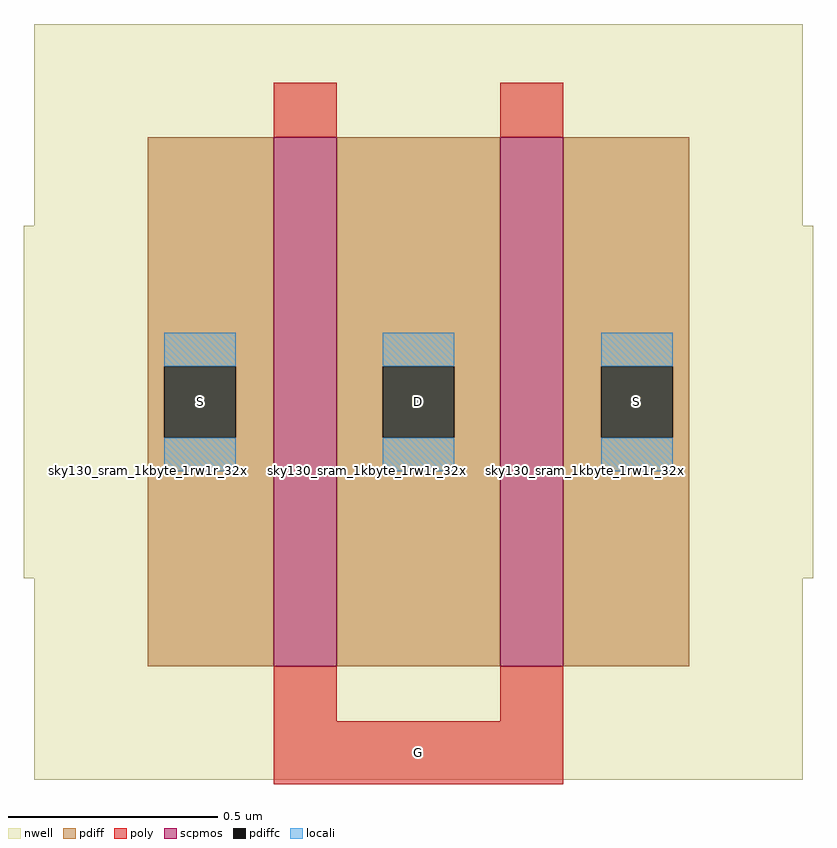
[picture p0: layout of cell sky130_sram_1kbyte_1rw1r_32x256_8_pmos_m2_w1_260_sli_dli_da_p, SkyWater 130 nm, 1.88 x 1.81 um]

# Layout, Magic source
magic
tech sky130A
magscale 1 2
<< nwell >>
rect -54 210 312 306
rect -59 42 317 210
rect -54 -54 312 42
<< scpmos >>
rect 60 0 90 252
rect 168 0 198 252
<< pdiff >>
rect 0 143 60 252
rect 0 109 8 143
rect 42 109 60 143
rect 0 0 60 109
rect 90 143 168 252
rect 90 109 112 143
rect 146 109 168 143
rect 90 0 168 109
rect 198 143 258 252
rect 198 109 216 143
rect 250 109 258 143
rect 198 0 258 109
<< pdiffc >>
rect 8 109 42 143
rect 112 109 146 143
rect 216 109 250 143
<< poly >>
rect 60 252 90 278
rect 168 252 198 278
rect 60 -26 90 0
rect 168 -26 198 0
rect 60 -56 198 -26
<< locali >>
rect 8 143 42 159
rect 8 93 42 109
rect 112 143 146 159
rect 112 93 146 109
rect 216 143 250 159
rect 216 93 250 109
use sky130_sram_1kbyte_1rw1r_32x256_8_contact_12  sky130_sram_1kbyte_1rw1r_32x256_8_contact_12_0
transform 1 0 208 0 1 93
box 0 0 1 1
use sky130_sram_1kbyte_1rw1r_32x256_8_contact_12  sky130_sram_1kbyte_1rw1r_32x256_8_contact_12_1
transform 1 0 104 0 1 93
box 0 0 1 1
use sky130_sram_1kbyte_1rw1r_32x256_8_contact_12  sky130_sram_1kbyte_1rw1r_32x256_8_contact_12_2
transform 1 0 0 0 1 93
box 0 0 1 1
<< labels >>
rlabel locali s 233 126 233 126 4 S
port 1 nsew
rlabel locali s 25 126 25 126 4 S
port 1 nsew
rlabel locali s 129 126 129 126 4 D
port 2 nsew
rlabel poly s 129 -41 129 -41 4 G
port 3 nsew
<< properties >>
string FIXED_BBOX -54 -56 312 42
string GDS_FILE $PDKPATH/libs.ref/sky130_sram_macros/gds/sky130_sram_1kbyte_1rw1r_32x256_8.gds
string GDS_END 6696
string GDS_START 5590
<< end >>
